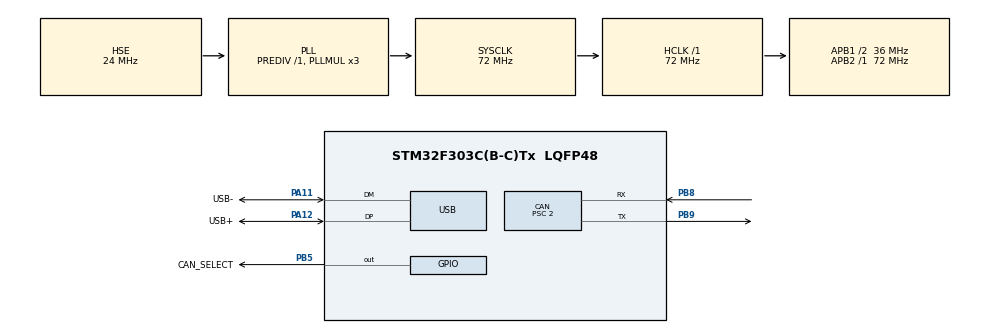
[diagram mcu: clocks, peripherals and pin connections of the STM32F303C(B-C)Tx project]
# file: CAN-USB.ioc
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CAN.BS1=CAN_BS1_12TQ
CAN.BS2=CAN_BS2_5TQ
CAN.CalculateBaudRate=1000000
CAN.CalculateTimeBit=1000
CAN.CalculateTimeQuantum=55.55555555555556
CAN.Prescaler=2
Mcu.Family=STM32F3
Mcu.Name=STM32F303C(B-C)Tx
Mcu.Package=LQFP48
NVIC.PriorityGroup=NVIC_PRIORITYGROUP_4
NVIC.USB_HP_CAN_TX_IRQn=true\:0\:0\:false\:false\:true\:true\:true\:true
NVIC.USB_LP_CAN_RX0_IRQn=true\:0\:0\:false\:false\:true\:true\:true\:true
NVIC.USB_LP_IRQn=true\:0\:0\:false\:false\:true\:false\:true\:true
PA11.GPIO_Label=USB-
PA11.Mode=Device
PA11.Signal=USB_DM
PA12.GPIO_Label=USB+
PA12.Mode=Device
PA12.Signal=USB_DP
PA13.Signal=SYS_JTMS-SWDIO
PA14.Signal=SYS_JTCK-SWCLK
PB3.Signal=SYS_JTDO-TRACESWO
PB5.GPIO_Label=CAN_SELECT
PB5.GPIO_PuPd=GPIO_NOPULL
PB5.PinState=GPIO_PIN_SET
PB5.Signal=GPIO_Output
PB8.Mode=CAN_Activate
PB8.Signal=CAN_RX
PB9.Mode=CAN_Activate
PB9.Signal=CAN_TX
PF0-OSC_IN.Mode=HSE-External-Oscillator
PF0-OSC_IN.Signal=RCC_OSC_IN
PF1-OSC_OUT.Mode=HSE-External-Oscillator
PF1-OSC_OUT.Signal=RCC_OSC_OUT
ProjectManager.HeapSize=0x200
ProjectManager.StackSize=0x400
ProjectManager.TargetToolchain=STM32CubeIDE
RCC.AHBFreq_Value=72000000
RCC.APB1CLKDivider=RCC_HCLK_DIV2
RCC.APB1Freq_Value=36000000
RCC.APB1TimFreq_Value=72000000
RCC.APB2Freq_Value=72000000
RCC.APB2TimFreq_Value=72000000
RCC.CortexFreq_Value=72000000
RCC.HCLKFreq_Value=72000000
RCC.HSE_VALUE=24000000
RCC.HSI_VALUE=8000000
RCC.LSE_VALUE=32768
RCC.PLLMUL=RCC_PLL_MUL3
RCC.PRESCALERUSB=RCC_USBCLKSOURCE_PLL_DIV1_5
RCC.SYSCLKFreq_VALUE=72000000
RCC.SYSCLKSourceVirtual=RCC_SYSCLKSOURCE_PLLCLK
RCC.USBFreq_Value=48000000
USB_DEVICE.CLASS_NAME_FS=CDC
USB_DEVICE.MANUFACTURER_STRING=SuperiorEngineering
USB_DEVICE.PID_CDC_FS=0x5740
USB_DEVICE.PRODUCT_STRING_CDC_FS=CANUSB
USB_DEVICE.USBD_DEBUG_LEVEL=3
USB_DEVICE.USBD_SELF_POWERED=1
USB_DEVICE.VID=0x0483
USB_DEVICE.VirtualMode=Cdc
USB_DEVICE.VirtualModeFS=Cdc_FS
VP_USB_DEVICE_VS_USB_DEVICE_CDC_FS.Mode=CDC_FS
board=custom

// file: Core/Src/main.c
/* USER CODE BEGIN Header */
/**
  ******************************************************************************
  * @file           : main.c
  * @brief          : Main program body
  ******************************************************************************
  * @attention
  *
  * Copyright (c) 2025 STMicroelectronics.
  * All rights reserved.
  *
  * This software is licensed under terms that can be found in the LICENSE file
  * in the root directory of this software component.
  * If no LICENSE file comes with this software, it is provided AS-IS.
  *
  ******************************************************************************
  */
/* USER CODE END Header */
#include "main.h"
#include "usb_device.h"

/* USER CODE BEGIN Includes */
#include "usbd_cdc_if.h"
#include <string.h>
#include <stdlib.h>
/* USER CODE END Includes */

CAN_HandleTypeDef hcan;

/* USER CODE BEGIN PV */
CAN_RxHeaderTypeDef RxHeader;
uint8_t RxData[8];
volatile uint8_t can_open = 0;
uint8_t slcan_rx_buffer[32];
uint8_t slcan_rx_len = 0;
/* USER CODE END PV */

void SystemClock_Config(void);
static void MX_GPIO_Init(void);
static void MX_CAN_Init(void);

/* USER CODE BEGIN 0 */
void CAN_to_SLCAN_and_send(CAN_RxHeaderTypeDef *header, uint8_t *data)
{
  char slcan_msg[32];
  int len = 0;

  // Standard frame
  if (header->IDE == CAN_ID_STD)
  {
    len = sprintf(slcan_msg, "t%03X%u", (unsigned int)header->StdId, (unsigned int)header->DLC);
  }
  else
  { // Extended frame
    len = sprintf(slcan_msg, "T%08X%u", (unsigned int)header->ExtId, (unsigned int)header->DLC);
  }

  for (uint8_t i = 0; i < header->DLC; i++)
  {
    len += sprintf(slcan_msg + len, "%02X", data[i]);
  }
  slcan_msg[len++] = '\r'; // SLCAN frame end

  CDC_Transmit_FS((uint8_t *)slcan_msg, len);
}

void slcan_set_channel(uint8_t channel) {
  if (channel == 0) {
    HAL_GPIO_WritePin(CAN_SELECT_GPIO_Port, CAN_SELECT_Pin, GPIO_PIN_SET);
  } else {
    HAL_GPIO_WritePin(CAN_SELECT_GPIO_Port, CAN_SELECT_Pin, GPIO_PIN_RESET);
  }
}

void slcan_send_ok(void) {
  CDC_Transmit_FS((uint8_t*)"\r", 1);
}

void slcan_send_error(void) {
  CDC_Transmit_FS((uint8_t*)"\a", 1);
}

void slcan_send_version(void){
  CDC_Transmit_FS((uint8_t*)"V0101\r", 6);
}

void slcan_send_serial_number(void){
  CDC_Transmit_FS((uint8_t*)"N6969\r", 6);
}

void slcan_return_status_flags(void){
  uint8_t status = 0;

  // Bit 0: CAN RX FIFO is full
  // Bit 1: CAN TX FIFO is full
  // Bit 2: 0
  // Bit 3: 0
  // Bit 4: 0
  // Bit 5: 0
  // Bit 6: CAN arbitration lost
  // Bit 7: CAN bus error

  uint8_t bit0 = HAL_CAN_GetRxFifoFillLevel(&hcan, CAN_RX_FIFO0) >= 3 ? 1 : 0; // Check if FIFO is full (size is 3)
  uint8_t bit1 = HAL_CAN_GetTxMailboxesFreeLevel(&hcan) == 0 ? 1 : 0;
  uint8_t bit2 = 0;
  uint8_t bit3 = 0;
  uint8_t bit4 = 0;
  uint8_t bit5 = 0;
  uint8_t bit6 = 0;
  uint8_t bit7 = (hcan.Instance->ESR & CAN_ESR_EWGF) ? 1 : 0;

  status |= (bit0 << 0);
  status |= (bit1 << 1);
  status |= (bit2 << 2);
  status |= (bit3 << 3);
  status |= (bit4 << 4);
  status |= (bit5 << 5);
  status |= (bit6 << 6);
  status |= (bit7 << 7);

  CDC_Transmit_FS(&status, 1);
}

void slcan_set_bitrate(uint8_t bitrate) {
  // Set the CAN bitrate based on the provided value
  uint8_t ok = 1;
  hcan.Init.Mode = CAN_MODE_NORMAL;
  hcan.Init.SyncJumpWidth = CAN_SJW_1TQ;
  hcan.Init.TimeTriggeredMode = DISABLE;
  hcan.Init.AutoBusOff = DISABLE;
  hcan.Init.AutoWakeUp = DISABLE;
  hcan.Init.AutoRetransmission = DISABLE;
  hcan.Init.ReceiveFifoLocked = DISABLE;
  hcan.Init.TransmitFifoPriority = DISABLE;
  switch (bitrate)
  {
    case 0:
    { // 100k
      hcan.Init.TimeSeg1 = CAN_BS1_14TQ;
      hcan.Init.TimeSeg2 = CAN_BS2_3TQ;
      hcan.Init.Prescaler = 200;
      break;
    }
    case 1:
    { // 20k
      hcan.Init.TimeSeg1 = CAN_BS1_14TQ;
      hcan.Init.TimeSeg2 = CAN_BS2_3TQ;
      hcan.Init.Prescaler = 100;
      break;
    }
    case 2:
    { // 50k
      hcan.Init.TimeSeg1 = CAN_BS1_14TQ;
      hcan.Init.TimeSeg2 = CAN_BS2_3TQ;
      hcan.Init.Prescaler = 40;
      break;
    }
    case 3:
    { // 100k
      hcan.Init.TimeSeg1 = CAN_BS1_14TQ;
      hcan.Init.TimeSeg2 = CAN_BS2_3TQ;
      hcan.Init.Prescaler = 20;
      break;
    }
    case 4:
    { // 125k
      hcan.Init.TimeSeg1 = CAN_BS1_12TQ;
      hcan.Init.TimeSeg2 = CAN_BS2_5TQ;
      hcan.Init.Prescaler = 16;
      break;
    }
    case 5:
    { // 250k
      hcan.Init.TimeSeg1 = CAN_BS1_12TQ;
      hcan.Init.TimeSeg2 = CAN_BS2_5TQ;
      hcan.Init.Prescaler = 8;
      break;
    }
    case 6:
    { // 500k
      hcan.Init.TimeSeg1 = CAN_BS1_12TQ;
      hcan.Init.TimeSeg2 = CAN_BS2_5TQ;
      hcan.Init.Prescaler = 4;
      break;
    }
    case 7:
    { // 750k
      hcan.Init.TimeSeg1 = CAN_BS1_16TQ;
      hcan.Init.TimeSeg2 = CAN_BS2_7TQ;
      hcan.Init.Prescaler = 2;
      break;
    }
    case 8:
    { // 1M
      hcan.Init.TimeSeg1 = CAN_BS1_12TQ;
      hcan.Init.TimeSeg2 = CAN_BS2_5TQ;
      hcan.Init.Prescaler = 2;
      break;
    }
    default:
      ok = 0;
      break;
  }
  if (ok && HAL_CAN_Init(&hcan) == HAL_OK)
  {
    slcan_send_ok();
  }
  else
  {
    slcan_send_error();
  }
}

void slcan_send_std_can_msg(uint32_t id, uint8_t dlc, uint8_t *data)
{
  // Send standard can message to CAN
  CAN_TxHeaderTypeDef txHeader;
  uint8_t txData[8] = {0};
  uint32_t txMailbox;

  txHeader.StdId = id;
  txHeader.IDE = CAN_ID_STD;
  txHeader.RTR = CAN_RTR_DATA;
  txHeader.DLC = dlc;

  memcpy(txData, data, dlc);

  if (HAL_CAN_AddTxMessage(&hcan, &txHeader, txData, &txMailbox) == HAL_OK)
  {
    slcan_send_ok();
  }
  else
  {
    CDC_Transmit_FS((uint8_t *)"z\r", 2);
  }
}

void slcan_send_ext_can_msg(uint32_t id, uint8_t dlc, uint8_t *data)
{
  // Send extended CAN message to CAN
  CAN_TxHeaderTypeDef txHeader;
  uint8_t txData[8] = {0};
  uint32_t txMailbox;

  txHeader.ExtId = id;
  txHeader.IDE = CAN_ID_EXT;
  txHeader.RTR = CAN_RTR_DATA;
  txHeader.DLC = dlc;

  memcpy(txData, data, dlc);

  if (HAL_CAN_AddTxMessage(&hcan, &txHeader, txData, &txMailbox) == HAL_OK)
  {
    CDC_Transmit_FS((uint8_t *)"Z\r", 2);
  }
  else
  {
    slcan_send_error();
  }
}

void slcan_send_std_rtr_msg(uint32_t id, uint8_t dlc)
{
  // Send standard RTR message to CAN
  CAN_TxHeaderTypeDef txHeader;
  uint32_t txMailbox;

  txHeader.StdId = id;
  txHeader.IDE = CAN_ID_STD;
  txHeader.RTR = CAN_RTR_REMOTE;
  txHeader.DLC = dlc;

  if (HAL_CAN_AddTxMessage(&hcan, &txHeader, NULL, &txMailbox) == HAL_OK)
  {
    CDC_Transmit_FS((uint8_t *)"z\r", 2);
  }
  else
  {
    slcan_send_error();
  }
}

void slcan_send_ext_rtr_msg(uint32_t id, uint8_t dlc)
{
  // Send extended RTR message to CAN
  CAN_TxHeaderTypeDef txHeader;
  uint32_t txMailbox;

  txHeader.ExtId = id;
  txHeader.IDE = CAN_ID_EXT;
  txHeader.RTR = CAN_RTR_REMOTE;
  txHeader.DLC = dlc;

  if (HAL_CAN_AddTxMessage(&hcan, &txHeader, NULL, &txMailbox) == HAL_OK)
  {
    CDC_Transmit_FS((uint8_t *)"Z\r", 2);
  }
  else
  {
    slcan_send_error();
  }
}

void slcan_process_command(uint8_t *cmd, uint8_t len) {
  if (len < 1) return;
  switch (cmd[0]) {
    case 'S': // Set bitrate
      if (can_open || len < 2)
      {
        slcan_send_error();
        break;
      }
      slcan_set_bitrate(cmd[1] - '0');
      break;
    case 'c': // Set CAN channel
      if (len < 2) {
        slcan_send_error();
        break;
      }
      if(can_open){
        if (HAL_CAN_Stop(&hcan) == HAL_OK)
        {
          can_open = 0;
        }
      }
      slcan_set_channel(cmd[1] - '0');
      slcan_send_ok();
      break;
    case 'N': // Get serial number
      slcan_send_serial_number();
      break;
    case 'O': // Open CAN channel
      if (!can_open)
      {
        if (HAL_CAN_Start(&hcan) == HAL_OK)
        {
          HAL_CAN_ActivateNotification(&hcan, CAN_IT_RX_FIFO0_MSG_PENDING);
          can_open = 1;
          slcan_send_ok();
        }
        else
        {
          slcan_send_error();
        }
      }
      else
      {
        slcan_send_error();
      }
      break;
    case 'C': // Close CAN channel
      if (can_open)
      {
        if (HAL_CAN_Stop(&hcan) == HAL_OK)
        {
          can_open = 0;
          slcan_send_ok();
        }
        else
        {
          slcan_send_error();
        }
      }
      else
      {
        slcan_send_error();
      }
      break;
    case 't': // Send standard CAN frame
      if (!can_open)
      {
        slcan_send_error();
        break;
      }
      {
        // SLCAN: tiiiLddd... (iii=ID, L=DLC, d=DATA)
        uint8_t txData[8] = {0};
        if (len < 5)
        {
          slcan_send_error();
          break;
        }
        // Parse 11-bit ID
        char idStr[4] = {0};
        memcpy(idStr, &cmd[1], 3);
        uint32_t ID = (uint32_t)strtol(idStr, NULL, 16);
        uint32_t DLC = cmd[4] - '0';
        // Data bytes
        for (uint8_t i = 0; i < DLC && (5 + 2 * i + 1) <= len; i++)
        {
          char byteStr[3] = {cmd[5 + 2 * i], cmd[5 + 2 * i + 1], 0};
          txData[i] = (uint8_t)strtol(byteStr, NULL, 16);
        }
        slcan_send_std_can_msg(ID, DLC, txData);
      }
      break;
    case 'r': // Send standard RTR
      if (!can_open)
      {
        slcan_send_error();
        break;
      }
      {
        // SLCAN: riiiLddd... (iii=ID, L=DLC, d=DATA)
        if (len < 5)
        {
          slcan_send_error();
          break;
        }
        // Parse 11-bit ID
        char idStr[4] = {0};
        memcpy(idStr, &cmd[1], 3);
        uint32_t ID = (uint32_t)strtol(idStr, NULL, 16);
        uint32_t DLC = cmd[4] - '0';
        slcan_send_std_rtr_msg(ID, DLC);
      }
      break;
    case 'T': // Send extended CAN frame
      if (!can_open)
      {
        slcan_send_error();
        break;
      }
      {
        // SLCAN: TiiiiiiiNd... (iiiiiiii=ID, N=DLC, d=DATA)
        char idStr[9] = {0};
        memcpy(idStr, &cmd[1], 8);
        uint32_t ID = (uint32_t)strtol(idStr, NULL, 16);
        uint32_t DLC = cmd[9] - '0';
        uint8_t txData[8] = {0};
        for (uint8_t i = 0; i < DLC && (10 + 2 * i + 1) <= len; i++)
        {
          char byteStr[3] = {cmd[10 + 2 * i], cmd[10 + 2 * i + 1], 0};
          txData[i] = (uint8_t)strtol(byteStr, NULL, 16);
        }
        slcan_send_ext_can_msg(ID, DLC, txData);
      }
      break;
    case 'R': // Send extended RTR
      if (!can_open)
      {
        slcan_send_error();
        break;
      }
      {
        // SLCAN: TiiiiiiiNd... (iiiiiiii=ID, N=DLC, d=DATA)

        if (len < 10)
        {
          slcan_send_error();
          break;
        }
        // Parse 29-bit ID
        char idStr[9] = {0};
        memcpy(idStr, &cmd[1], 8);
        uint32_t ID = (uint32_t)strtol(idStr, NULL, 16);
        uint32_t DLC = cmd[9] - '0';
        slcan_send_ext_rtr_msg(ID, DLC);
      }
      break;
    case 'V': // Get version
      CDC_Transmit_FS((uint8_t*)"V0101\r", 6);
      break;
    case 'F':
      slcan_return_status_flags();
      break;
    default : slcan_send_error();
      break;
  }
}

/* USER CODE END 0 */

int main(void)
{

  /* MCU Configuration--------------------------------------------------------*/

  /* Reset of all peripherals, Initializes the Flash interface and the Systick. */
  HAL_Init();

  /* Configure the system clock */
  SystemClock_Config();

  /* Initialize all configured peripherals */
  MX_GPIO_Init();
  MX_CAN_Init();
  MX_USB_DEVICE_Init();

  /* Infinite loop */
  while (1)
  {

  }
}

void SystemClock_Config(void)
{
  RCC_OscInitTypeDef RCC_OscInitStruct = {0};
  RCC_ClkInitTypeDef RCC_ClkInitStruct = {0};
  RCC_PeriphCLKInitTypeDef PeriphClkInit = {0};

  /** Initializes the RCC Oscillators according to the specified parameters
  * in the RCC_OscInitTypeDef structure.
  */
  RCC_OscInitStruct.OscillatorType = RCC_OSCILLATORTYPE_HSE;
  RCC_OscInitStruct.HSEState = RCC_HSE_ON;
  RCC_OscInitStruct.HSEPredivValue = RCC_HSE_PREDIV_DIV1;
  RCC_OscInitStruct.HSIState = RCC_HSI_ON;
  RCC_OscInitStruct.PLL.PLLState = RCC_PLL_ON;
  RCC_OscInitStruct.PLL.PLLSource = RCC_PLLSOURCE_HSE;
  RCC_OscInitStruct.PLL.PLLMUL = RCC_PLL_MUL3;
  if (HAL_RCC_OscConfig(&RCC_OscInitStruct) != HAL_OK)
  {
    Error_Handler();
  }

  /** Initializes the CPU, AHB and APB buses clocks
  */
  RCC_ClkInitStruct.ClockType = RCC_CLOCKTYPE_HCLK|RCC_CLOCKTYPE_SYSCLK
                              |RCC_CLOCKTYPE_PCLK1|RCC_CLOCKTYPE_PCLK2;
  RCC_ClkInitStruct.SYSCLKSource = RCC_SYSCLKSOURCE_PLLCLK;
  RCC_ClkInitStruct.AHBCLKDivider = RCC_SYSCLK_DIV1;
  RCC_ClkInitStruct.APB1CLKDivider = RCC_HCLK_DIV2;
  RCC_ClkInitStruct.APB2CLKDivider = RCC_HCLK_DIV1;

  if (HAL_RCC_ClockConfig(&RCC_ClkInitStruct, FLASH_LATENCY_2) != HAL_OK)
  {
    Error_Handler();
  }
  PeriphClkInit.PeriphClockSelection = RCC_PERIPHCLK_USB;
  PeriphClkInit.USBClockSelection = RCC_USBCLKSOURCE_PLL_DIV1_5;
  if (HAL_RCCEx_PeriphCLKConfig(&PeriphClkInit) != HAL_OK)
  {
    Error_Handler();
  }
}

static void MX_CAN_Init(void)
{

  hcan.Instance = CAN;
  hcan.Init.Prescaler = 2;
  hcan.Init.Mode = CAN_MODE_NORMAL;
  hcan.Init.SyncJumpWidth = CAN_SJW_1TQ;
  hcan.Init.TimeSeg1 = CAN_BS1_12TQ;
  hcan.Init.TimeSeg2 = CAN_BS2_5TQ;
  hcan.Init.TimeTriggeredMode = DISABLE;
  hcan.Init.AutoBusOff = DISABLE;
  hcan.Init.AutoWakeUp = DISABLE;
  hcan.Init.AutoRetransmission = DISABLE;
  hcan.Init.ReceiveFifoLocked = DISABLE;
  hcan.Init.TransmitFifoPriority = DISABLE;
  if (HAL_CAN_Init(&hcan) != HAL_OK)
  {
    Error_Handler();
  }
  /* USER CODE BEGIN CAN_Init 2 */
  CAN_FilterTypeDef sFilterConfig;
  sFilterConfig.FilterBank = 0;
  sFilterConfig.FilterMode = CAN_FILTERMODE_IDMASK;
  sFilterConfig.FilterScale = CAN_FILTERSCALE_32BIT;
  sFilterConfig.FilterIdHigh = 0x0000;
  sFilterConfig.FilterIdLow = 0x0000;
  sFilterConfig.FilterMaskIdHigh = 0x0000;
  sFilterConfig.FilterMaskIdLow = 0x0000;
  sFilterConfig.FilterFIFOAssignment = CAN_RX_FIFO0;
  sFilterConfig.FilterActivation = ENABLE;
  sFilterConfig.SlaveStartFilterBank = 14;
  HAL_CAN_ConfigFilter(&hcan, &sFilterConfig);
  /* USER CODE END CAN_Init 2 */

}

static void MX_GPIO_Init(void)
{
  GPIO_InitTypeDef GPIO_InitStruct = {0};

  /* GPIO Ports Clock Enable */
  __HAL_RCC_GPIOF_CLK_ENABLE();
  __HAL_RCC_GPIOA_CLK_ENABLE();
  __HAL_RCC_GPIOB_CLK_ENABLE();

  /*Configure GPIO pin Output Level */
  HAL_GPIO_WritePin(CAN_SELECT_GPIO_Port, CAN_SELECT_Pin, GPIO_PIN_SET);

  /*Configure GPIO pin : CAN_SELECT_Pin */
  GPIO_InitStruct.Pin = CAN_SELECT_Pin;
  GPIO_InitStruct.Mode = GPIO_MODE_OUTPUT_PP;
  GPIO_InitStruct.Pull = GPIO_NOPULL;
  GPIO_InitStruct.Speed = GPIO_SPEED_FREQ_LOW;
  HAL_GPIO_Init(CAN_SELECT_GPIO_Port, &GPIO_InitStruct);

}

/* USER CODE BEGIN 4 */
void HAL_CAN_RxFifo0MsgPendingCallback(CAN_HandleTypeDef *hcan)
{
  if (HAL_CAN_GetRxMessage(hcan, CAN_RX_FIFO0, &RxHeader, RxData) == HAL_OK)
  {
    CAN_to_SLCAN_and_send(&RxHeader, RxData);
  }
}

// Funkcija za sprejem podatkov iz USB CDC (klice se iz usbd_cdc_if.c)
void slcan_usb_rx(uint8_t* Buf, uint32_t Len) {
  for (uint32_t i = 0; i < Len; i++) {
    if (Buf[i] == '\r') {
      slcan_process_command(slcan_rx_buffer, slcan_rx_len);
      slcan_rx_len = 0;
    } else if (slcan_rx_len < sizeof(slcan_rx_buffer)-1) {
      slcan_rx_buffer[slcan_rx_len++] = Buf[i];
    }
  }
}
/* USER CODE END 4 */

void Error_Handler(void)
{
  __disable_irq();
  while (1)
  {
  }
}
